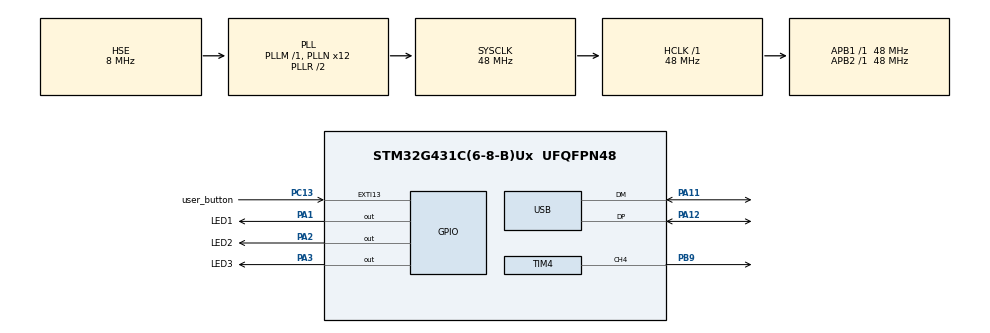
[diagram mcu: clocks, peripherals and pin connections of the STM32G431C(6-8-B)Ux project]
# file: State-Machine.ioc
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Mcu.Family=STM32G4
Mcu.Name=STM32G431C(6-8-B)Ux
Mcu.Package=UFQFPN48
NVIC.EXTI15_10_IRQn=true\:0\:0\:true\:false\:true\:true\:true\:true
NVIC.PriorityGroup=NVIC_PRIORITYGROUP_4
NVIC.TIM1_UP_TIM16_IRQn=true\:0\:0\:false\:false\:true\:true\:true\:true
NVIC.USB_LP_IRQn=true\:0\:0\:false\:false\:true\:false\:true\:true
PA1.GPIO_Label=LED1
PA1.GPIO_Speed=GPIO_SPEED_FREQ_MEDIUM
PA1.Signal=GPIO_Output
PA11.Mode=Device
PA11.Signal=USB_DM
PA12.Mode=Device
PA12.Signal=USB_DP
PA2.GPIO_Label=LED2
PA2.GPIO_Speed=GPIO_SPEED_FREQ_MEDIUM
PA2.Signal=GPIO_Output
PA3.GPIO_Label=LED3
PA3.GPIO_Speed=GPIO_SPEED_FREQ_MEDIUM
PA3.Signal=GPIO_Output
PB9.Signal=S_TIM4_CH4
PC13.GPIO_Label=user_button
PC13.GPIO_PuPd=GPIO_PULLDOWN
PC13.Signal=GPXTI13
PF0-OSC_IN.Mode=HSE-External-Oscillator
PF0-OSC_IN.Signal=RCC_OSC_IN
PF1-OSC_OUT.Mode=HSE-External-Oscillator
PF1-OSC_OUT.Signal=RCC_OSC_OUT
ProjectManager.HeapSize=0x200
ProjectManager.StackSize=0x400
ProjectManager.TargetToolchain=STM32CubeIDE
RCC.ADC12Freq_Value=48000000
RCC.AHBFreq_Value=48000000
RCC.APB1Freq_Value=48000000
RCC.APB1TimFreq_Value=48000000
RCC.APB2Freq_Value=48000000
RCC.APB2TimFreq_Value=48000000
RCC.CortexFreq_Value=48000000
RCC.EXTERNAL_CLOCK_VALUE=12288000
RCC.HCLKFreq_Value=48000000
RCC.HSE_VALUE=8000000
RCC.HSI48_VALUE=48000000
RCC.HSI_VALUE=16000000
RCC.LSE_VALUE=32768
RCC.PLLN=12
RCC.PLLSourceVirtual=RCC_PLLSOURCE_HSE
RCC.SYSCLKFreq_VALUE=48000000
RCC.SYSCLKSource=RCC_SYSCLKSOURCE_PLLCLK
RCC.USBFreq_Value=48000000
RCC.VCOOutputFreq_Value=96000000
SH.S_TIM4_CH4.0=TIM4_CH4,PWM Generation4 CH4
TIM1.PeriodNoDither=1000-1
TIM1.Prescaler=48000-1
TIM4.Channel-PWM\ Generation4\ CH4=TIM_CHANNEL_4
TIM4.PeriodNoDither=1000-1
TIM4.Prescaler=48-1
USB_DEVICE.CLASS_NAME_FS=CDC
USB_DEVICE.VirtualMode=Cdc
USB_DEVICE.VirtualModeFS=Cdc_FS
VP_SYS_VS_DBSignals.Mode=DisableDeadBatterySignals
VP_TIM1_VS_ClockSourceINT.Mode=Internal
VP_USB_DEVICE_VS_USB_DEVICE_CDC_FS.Mode=CDC_FS
board=custom

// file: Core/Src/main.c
/* USER CODE BEGIN Header */
/**
 ******************************************************************************
 * @file           : main.c
 * @brief          : Main program body
 ******************************************************************************
 * @attention
 *
 * Copyright (c) 2025 STMicroelectronics.
 * All rights reserved.
 *
 * This software is licensed under terms that can be found in the LICENSE file
 * in the root directory of this software component.
 * If no LICENSE file comes with this software, it is provided AS-IS.
 *
 ******************************************************************************
 */
/* USER CODE END Header */
#include "main.h"
#include "usb_device.h"

/* USER CODE BEGIN Includes */

#include "state_machine.h"
#include "usbd_cdc_if.h"

/* USER CODE END Includes */

TIM_HandleTypeDef htim1;
TIM_HandleTypeDef htim4;

/* USER CODE BEGIN PV */

int clockCount = 0;
extern state_Type current_state;
extern void (*state_table[])(void);

uint8_t buffer[64] = { 0 };

volatile uint8_t buttonCounter = 0;
volatile uint32_t lastDebounceTime = 0;
const uint32_t debounceDelay = 100;

/* USER CODE END PV */

void SystemClock_Config(void);
static void MX_GPIO_Init(void);
static void MX_TIM1_Init(void);
static void MX_TIM4_Init(void);

int main(void) {

	/* MCU Configuration--------------------------------------------------------*/

	/* Reset of all peripherals, Initializes the Flash interface and the Systick. */
	HAL_Init();

	/* Configure the system clock */
	SystemClock_Config();

	/* Initialize all configured peripherals */
	MX_GPIO_Init();
	MX_USB_Device_Init();
	MX_TIM1_Init();
	MX_TIM4_Init();
	/* USER CODE BEGIN 2 */

	HAL_TIM_Base_Start_IT(&htim1);
	HAL_TIM_PWM_Start(&htim4, TIM_CHANNEL_4);
	current_state = STATE_INIT;

	/* USER CODE END 2 */

	/* Infinite loop */
	while (1) {

		/* USER CODE BEGIN 3 */
		state_table[current_state]();
	}
	/* USER CODE END 3 */
}

void SystemClock_Config(void) {
	RCC_OscInitTypeDef RCC_OscInitStruct = { 0 };
	RCC_ClkInitTypeDef RCC_ClkInitStruct = { 0 };

	/** Configure the main internal regulator output voltage
	 */
	HAL_PWREx_ControlVoltageScaling(PWR_REGULATOR_VOLTAGE_SCALE1);

	/** Initializes the RCC Oscillators according to the specified parameters
	 * in the RCC_OscInitTypeDef structure.
	 */
	RCC_OscInitStruct.OscillatorType = RCC_OSCILLATORTYPE_HSE;
	RCC_OscInitStruct.HSEState = RCC_HSE_ON;
	RCC_OscInitStruct.PLL.PLLState = RCC_PLL_ON;
	RCC_OscInitStruct.PLL.PLLSource = RCC_PLLSOURCE_HSE;
	RCC_OscInitStruct.PLL.PLLM = RCC_PLLM_DIV1;
	RCC_OscInitStruct.PLL.PLLN = 12;
	RCC_OscInitStruct.PLL.PLLP = RCC_PLLP_DIV2;
	RCC_OscInitStruct.PLL.PLLQ = RCC_PLLQ_DIV2;
	RCC_OscInitStruct.PLL.PLLR = RCC_PLLR_DIV2;
	if (HAL_RCC_OscConfig(&RCC_OscInitStruct) != HAL_OK) {
		Error_Handler();
	}

	/** Initializes the CPU, AHB and APB buses clocks
	 */
	RCC_ClkInitStruct.ClockType = RCC_CLOCKTYPE_HCLK | RCC_CLOCKTYPE_SYSCLK
			| RCC_CLOCKTYPE_PCLK1 | RCC_CLOCKTYPE_PCLK2;
	RCC_ClkInitStruct.SYSCLKSource = RCC_SYSCLKSOURCE_PLLCLK;
	RCC_ClkInitStruct.AHBCLKDivider = RCC_SYSCLK_DIV1;
	RCC_ClkInitStruct.APB1CLKDivider = RCC_HCLK_DIV1;
	RCC_ClkInitStruct.APB2CLKDivider = RCC_HCLK_DIV1;

	if (HAL_RCC_ClockConfig(&RCC_ClkInitStruct, FLASH_LATENCY_1) != HAL_OK) {
		Error_Handler();
	}
}

static void MX_TIM1_Init(void) {

	TIM_ClockConfigTypeDef sClockSourceConfig = { 0 };
	TIM_MasterConfigTypeDef sMasterConfig = { 0 };

	htim1.Instance = TIM1;
	htim1.Init.Prescaler = 48000 - 1;
	htim1.Init.CounterMode = TIM_COUNTERMODE_UP;
	htim1.Init.Period = 999;
	htim1.Init.ClockDivision = TIM_CLOCKDIVISION_DIV1;
	htim1.Init.RepetitionCounter = 0;
	htim1.Init.AutoReloadPreload = TIM_AUTORELOAD_PRELOAD_DISABLE;
	if (HAL_TIM_Base_Init(&htim1) != HAL_OK) {
		Error_Handler();
	}
	sClockSourceConfig.ClockSource = TIM_CLOCKSOURCE_INTERNAL;
	if (HAL_TIM_ConfigClockSource(&htim1, &sClockSourceConfig) != HAL_OK) {
		Error_Handler();
	}
	sMasterConfig.MasterOutputTrigger = TIM_TRGO_RESET;
	sMasterConfig.MasterOutputTrigger2 = TIM_TRGO2_RESET;
	sMasterConfig.MasterSlaveMode = TIM_MASTERSLAVEMODE_DISABLE;
	if (HAL_TIMEx_MasterConfigSynchronization(&htim1, &sMasterConfig)
			!= HAL_OK) {
		Error_Handler();
	}

}

static void MX_TIM4_Init(void) {

	TIM_MasterConfigTypeDef sMasterConfig = { 0 };
	TIM_OC_InitTypeDef sConfigOC = { 0 };

	htim4.Instance = TIM4;
	htim4.Init.Prescaler = 96 - 1;
	htim4.Init.CounterMode = TIM_COUNTERMODE_UP;
	htim4.Init.Period = 500;
	htim4.Init.ClockDivision = TIM_CLOCKDIVISION_DIV1;
	htim4.Init.AutoReloadPreload = TIM_AUTORELOAD_PRELOAD_DISABLE;
	if (HAL_TIM_PWM_Init(&htim4) != HAL_OK) {
		Error_Handler();
	}
	sMasterConfig.MasterOutputTrigger = TIM_TRGO_RESET;
	sMasterConfig.MasterSlaveMode = TIM_MASTERSLAVEMODE_DISABLE;
	if (HAL_TIMEx_MasterConfigSynchronization(&htim4, &sMasterConfig)
			!= HAL_OK) {
		Error_Handler();
	}
	sConfigOC.OCMode = TIM_OCMODE_PWM1;
	sConfigOC.Pulse = 0;
	sConfigOC.OCPolarity = TIM_OCPOLARITY_HIGH;
	sConfigOC.OCFastMode = TIM_OCFAST_DISABLE;
	if (HAL_TIM_PWM_ConfigChannel(&htim4, &sConfigOC, TIM_CHANNEL_4)
			!= HAL_OK) {
		Error_Handler();
	}
	HAL_TIM_MspPostInit(&htim4);

}

static void MX_GPIO_Init(void) {
	GPIO_InitTypeDef GPIO_InitStruct = { 0 };

	/* GPIO Ports Clock Enable */
	__HAL_RCC_GPIOC_CLK_ENABLE();
	__HAL_RCC_GPIOF_CLK_ENABLE();
	__HAL_RCC_GPIOA_CLK_ENABLE();
	__HAL_RCC_GPIOB_CLK_ENABLE();

	/*Configure GPIO pin Output Level */
	HAL_GPIO_WritePin(GPIOA, LED1_Pin | LED2_Pin | LED3_Pin, GPIO_PIN_RESET);

	/*Configure GPIO pin : user_button_Pin */
	GPIO_InitStruct.Pin = user_button_Pin;
	GPIO_InitStruct.Mode = GPIO_MODE_IT_RISING;
	GPIO_InitStruct.Pull = GPIO_PULLDOWN;
	HAL_GPIO_Init(user_button_GPIO_Port, &GPIO_InitStruct);

	/*Configure GPIO pins : LED1_Pin LED2_Pin LED3_Pin */
	GPIO_InitStruct.Pin = LED1_Pin | LED2_Pin | LED3_Pin;
	GPIO_InitStruct.Mode = GPIO_MODE_OUTPUT_PP;
	GPIO_InitStruct.Pull = GPIO_NOPULL;
	GPIO_InitStruct.Speed = GPIO_SPEED_FREQ_MEDIUM;
	HAL_GPIO_Init(GPIOA, &GPIO_InitStruct);

	/* EXTI interrupt init*/
	HAL_NVIC_SetPriority(EXTI15_10_IRQn, 0, 0);
	HAL_NVIC_EnableIRQ(EXTI15_10_IRQn);

}

/* USER CODE BEGIN 4 */

void HAL_TIM_PeriodElapsedCallback(TIM_HandleTypeDef *htim) {
	clockCount++;
}

void HAL_GPIO_EXTI_Callback(uint16_t GPIO_Pin) {

	uint32_t currentMillis = HAL_GetTick();

	if ((currentMillis - lastDebounceTime >= debounceDelay)) {
		buttonCounter++;
		lastDebounceTime = currentMillis;
	}

}

/* USER CODE END 4 */

void Error_Handler(void) {
	__disable_irq();
	while (1) {
	}
}
